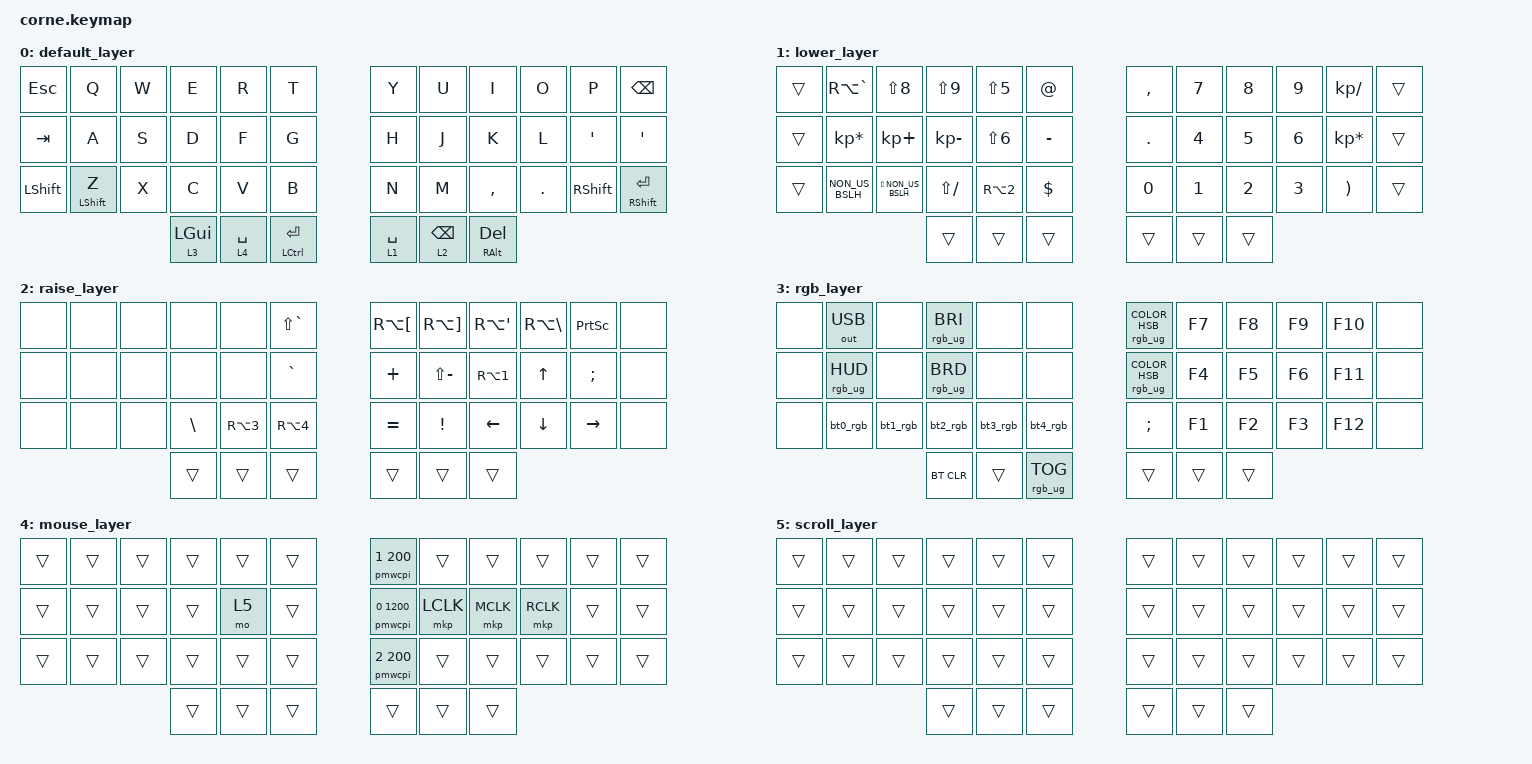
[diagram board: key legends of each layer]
/*
 * Copyright (c) 2020 The ZMK Contributors
 * test
 * SPDX-License-Identifier: MIT
 */
#include <behaviors.dtsi>
#include <dt-bindings/zmk/keys.h>
#include <dt-bindings/zmk/bt.h>
#include <dt-bindings/zmk/rgb.h>
#include <dt-bindings/zmk/outputs.h>
#include <dt-bindings/zmk/pointing.h>

/* El override de &nice_view_spi (CS del display) se movio a config/corne_left.overlay,
 * porque el lado derecho ya no incluye el shield nice_view. */

&led_strip {
    chain-length = <27>;
};
/ {
    combos {
        compatible = "zmk,combos";
            combo_acute_n {
            timeout-ms = <300>; // Límite de tiempo para la secuencia
            key-positions = <22 30>; // ACUTE en pos 22, N en pos 30
            bindings = <&n_tilde>;   // Dispara macro ñ
        };
        combo_esc {
            timeout-ms = <50>;
            key-positions = <4 5>;
            bindings = <&kp ESC>;
        };
        combo_tab {
            timeout-ms = <50>;
            key-positions = <16 17>;
            bindings = <&kp TAB>;
        };
        combo_arr {
            timeout-ms = <50>;
            key-positions = <28 29>;
            bindings = <&kp RA(N2)>;
        };
        combo_BSPC1 {
            timeout-ms = <50>;
            key-positions = <18 19>;
            bindings = <&kp BSPC>;
        };
        combo_RET {
            timeout-ms = <50>;
            key-positions = <33 34>;
            bindings = <&mt LCTRL RET>;
        };
        combo_BSPC2 {
            timeout-ms = <50>;
            key-positions = <9 10>;
            bindings = <&kp LC(BSPC)>;
        };
        combo_num {
            timeout-ms = <50>;
            key-positions = <6 7>;
            bindings = <&tog 1>;
        };
        combo_ene {
            timeout-ms = <50>;
            key-positions = <21 22>;
            bindings = <&kp SEMI>;
        };
        combo_ene2 {
            timeout-ms = <50>;
            key-positions = <30 31>;
            bindings = <&kp SEMI>;
        };
        combo_suspende {
            timeout-ms = <50>;
            key-positions = <14 15 16>;
            bindings = <&win_sleep>;
        };
        combo_blqmayus {
            timeout-ms = <50>;
            key-positions = <25 26>;
            bindings = <&kp CLCK>;
        };
         combo_ctrolz {
            timeout-ms = <50>;
            key-positions = <15 16>;
            bindings = <&kp LC(Z)>;
        };
    };
};
/ {
    behaviors {
        bt0_rgb: behavior_bt0_rgb {
            compatible = "zmk,behavior-macro";
            label = "BT0_RGB";
            #binding-cells = <0>;
            bindings = <&bt BT_SEL 0 &rgb_ug RGB_COLOR_HSB(300,100,5)>;
        };
        bt1_rgb: behavior_bt1_rgb {
            compatible = "zmk,behavior-macro";
            label = "BT1_RGB";
            #binding-cells = <0>;
            bindings = <&bt BT_SEL 1 &rgb_ug RGB_COLOR_HSB(180,100,5)>;
        };
        bt2_rgb: behavior_bt2_rgb {
            compatible = "zmk,behavior-macro";
            label = "BT2_RGB";
            #binding-cells = <0>;
            bindings = <&bt BT_SEL 2 &rgb_ug RGB_COLOR_HSB(0,100,5)>;
        };
        bt3_rgb: behavior_bt3_rgb {
            compatible = "zmk,behavior-macro";
            label = "BT3_RGB";
            #binding-cells = <0>;
            bindings = <&bt BT_SEL 3 &rgb_ug RGB_COLOR_HSB(120,100,5)>;
        };
        bt4_rgb: behavior_bt4_rgb {
            compatible = "zmk,behavior-macro";
            label = "BT4_RGB";
            #binding-cells = <0>;
            bindings = <&bt BT_SEL 4 &rgb_ug RGB_COLOR_HSB(45,100,5)>;
        };
         win_sleep: win_sleep {
            wait-ms = <500>;
            tap-ms = <5>;
            compatible = "zmk,behavior-macro";
            label = "WIN_SLEEP_KEY";
            #binding-cells = <0>;
            bindings = <&kp LG(X) &kp G &kp S>;
        };
        n_tilde: n_tilde {
            compatible = "zmk,behavior-macro";
            label = "ñ Macro";
            #binding-cells = <0>;
            bindings = <&kp SEMI>; // Unicode para ñ
        };
    };
};
/ {
        keymap {
                compatible = "zmk,keymap";
                default_layer {
// -----------------------------------------------------------------------------------------
// |   0  |  1  |  2  |  3  |  4  |  5  |   |  6  |  7   |  8  |  9  |  10 | 11 | 
// |  12  | 13  | 14  | 15  |  16 |  17 |   | 18  |  19  |  20 |  21 | 22  | 23 |
// |  24  | 25  | 26  | 27  |  28 |  29 |   | 30  |  31  |  32 |  33 | 34  | 35 |
//                    | 36  | 37  | 38  |   | 39  |  40  |  41 |
// -----------------------------------------------------------------------------------------
// |      |  Q  |  W  |  E  |  R  |  T  |   |  Y  |  U   |  I  |  O  |  P  |    |
// |      |  A  |  S  |  D  |  F  |  G  |   |  H  |  J   |  K  |  L  | ´   |    |
// |      |  Z  |  X  |  C  |  V  |  B  |   |  N  |  M   |  ,  |  .  | SHFT |    |
//         SHFT         | SHFT| LWR | CTRL |   | SPAC | RSE  | ALT |
//  0
                        bindings = <
   &kp ESC   &kp Q       &kp W &kp E &kp R &kp T   &kp Y &kp U  &kp I     &kp O   &kp P         &kp BSPC
   &kp TAB   &kp A       &kp S &kp D &kp F &kp G   &kp H &kp J  &kp K     &kp L   &kp SQT       &kp SQT
   &kp LSHFT &mt LSHFT Z &kp X &kp C &kp V &kp B   &kp N &kp M  &kp COMMA &kp DOT &kp RSHFT     &mt RSHFT RET
       &lt 3 LGUI &lt 4 SPACE &mt LCTRL RET    &lt 1 SPACE &lt 2 BSPC &mt RALT DEL
                        >;
                };
                lower_layer {
// -----------------------------------------------------------------------------------------
// |      | \ |  (  |  )  |  %  |  "  |   |  ,  |  7  |  8  |  9  | BKSP|      |
// |      | * |  +  |  -  |  &  |  '  |   |  .  |  4  |  5  |  6  |  /  |      |
// |      | z |  >  |  _  |  $  |  @  |   |  0  |  1  |  2  |  3  |  =  |      |
//                    |     |     |CTRL |   | ENT |     | ALT | 
// 1
                        bindings = <
   &trans &kp RA(GRAVE)    &kp LS(N8)          &kp LS(N9)     &kp LS(N5)   &kp AT         &kp COMMA  &kp N7   &kp N8  &kp N9  &kp KP_DIVIDE   &trans
   &trans &kp KP_ASTERISK  &kp KP_PLUS         &kp KP_MINUS   &kp LS(N6)   &kp MINUS      &kp DOT    &kp N4   &kp N5  &kp N6  &kp KP_ASTERISK &trans
   &trans &kp NON_US_BSLH  &kp LS(NON_US_BSLH) &kp LS(FSLH)   &kp RA(N2)   &kp DLLR       &kp N0     &kp N1   &kp N2  &kp N3  &kp RPAR        &trans
                          	                   &trans         &trans       &trans         &trans     &trans   &trans 
                        >;
                };
                raise_layer {
// -----------------------------------------------------------------------------------------
// |     |     |    |     |     |  ª  |     | [  |  ]  |  {   |  }    | PSCR  |    |
// |     |     |    |     |     |  º  |     | ¿  |  ?  |  #   |  UP   |       |    |
// |     |     |    |     |  #  |  ~  |     |  ¡ |  !  | LEFT | DOWN  | RIGHT |    |
//             |    |     |     |     |     |    | ALT |
// 2
                        bindings = <
   &none    &none      &none       &none     &none      &kp LS(GRAVE)  &kp RA(LBKT)  &kp RA(RBKT)   &kp RA(SQT)  &kp RA(BSLH)  &kp PSCRN  &none
   &none    &none      &none       &none     &none      &kp GRAVE      &kp PLUS      &kp LS(MINUS)  &kp RA(N1)   &kp UP        &kp SEMI   &none
   &none    &none      &none       &kp BSLH  &kp RA(N3) &kp RA(N4)     &kp EQUAL     &kp EXCL       &kp LEFT     &kp DOWN      &kp RIGHT  &none
                                   &trans    &trans     &trans         &trans        &trans         &trans
                        >;
                };
                rgb_layer {
// -----------------------------------------------------------------------------------------
// | F1  | Tono+ |  Brillo+| nada     | SCRL_UP | SCRL_DOWN |   |  F7  |  F8  |  F9  | F10  |    |
// | F7  | Tono- |  Brillo- | central |izq      |derecho    |   |  F4  |  F5  |  F6  | F11  |    |
// |     | BT1   |   BT2    | BT3     |BT4      | BT5 |     | ñ |  F1  |  F2  |  F3  | F12  |    |
//                          |BTCLR    |         |     |     |   |      |      |
// 3
                        bindings = <
 &none   &out OUT_USB    &none       &rgb_ug RGB_BRI     &none         &none                 &rgb_ug RGB_COLOR_HSB(180,100,2)  &kp F7   &kp F8  &kp F9  &kp F10  &none
 &none   &rgb_ug RGB_HUD &none       &rgb_ug RGB_BRD     &none         &none                 &rgb_ug RGB_COLOR_HSB(300,100,2)  &kp F4   &kp F5  &kp F6  &kp F11  &none
 &none   &bt0_rgb        &bt1_rgb    &bt2_rgb            &bt3_rgb      &bt4_rgb              &kp SEMI                          &kp F1   &kp F2  &kp F3  &kp F12  &none
                                           &bt BT_CLR        &trans         &rgb_ug RGB_TOG  &trans                            &trans   &trans
                        >;
                };
                mouse_layer {
// -----------------------------------------------------------------------------------------
// |     |     |     |     |     | |   |     |  ctrl c | ctrl v  | ctrl x  |     |     |
// |     |     |     |     |     | |   |     | LCLK    | MCLK    | RCLK|     |     |
// |     |     |     |     |     |           |  SCRL_DN| SCRL_UP          |
//                          |     |     |     |   |      |    |     |
//
// Posicion 16 (la de la F) = &mo 5 -> mantener pulsada convierte el trackball
// en rueda de scroll (ver scroll_layer y config/corne_trackball.dtsi).
// Esta en la mitad izquierda a proposito: se sujeta con la izquierda mientras
// la derecha mueve la bola.
// 4
                        bindings = <   
   &trans    &trans    &trans    &trans    &trans    &trans    	    &pmwcpi 1 200    &trans         &trans      &trans     &trans  &trans 
   &trans    &trans    &trans    &trans    &mo 5     &trans         &pmwcpi 0 1200   &mkp LCLK      &mkp MCLK   &mkp RCLK  &trans  &trans 
   &trans    &trans    &trans    &trans    &trans    &trans         &pmwcpi 2 200    &trans         &trans      &trans     &trans  &trans 
                                 &trans    &trans    &trans         &trans  	        &trans         &trans
                        >;
                };
                scroll_layer {
// -----------------------------------------------------------------------------------------
// Capa "modificadora" del trackball: no cambia ninguna tecla (todo &trans), solo
// existe para que el input listener (config/corne_trackball.dtsi -> nodo "scroller")
// detecte que esta activa y convierta el movimiento de la bola en scroll.
//
// Se activa manteniendo pulsada la posicion 16 (la de la F) en la capa 4 (raton).
// Al ser todo &trans, mientras haces scroll siguen funcionando los clicks y demas
// teclas de las capas 4 / 0 que haya debajo.
// 5
                        bindings = <
   &trans &trans &trans &trans &trans &trans   &trans &trans &trans &trans &trans &trans
   &trans &trans &trans &trans &trans &trans   &trans &trans &trans &trans &trans &trans
   &trans &trans &trans &trans &trans &trans   &trans &trans &trans &trans &trans &trans
                        &trans &trans &trans   &trans &trans &trans
                        >;
                };
        };
};
